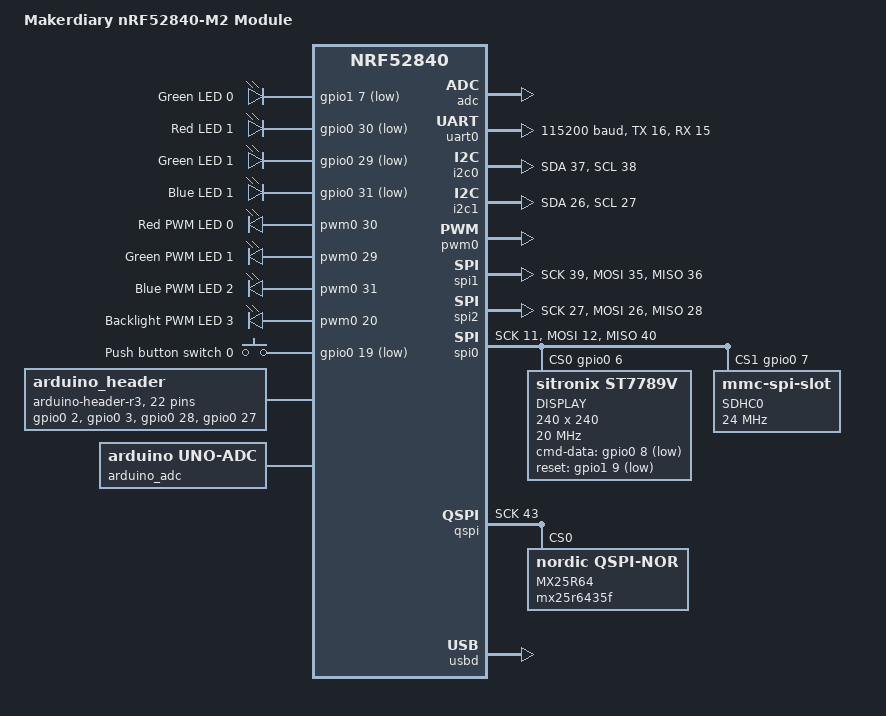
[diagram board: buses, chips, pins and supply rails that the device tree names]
/*
 * Copyright (c) 2020 makerdiary
 * Copyright (c) 2017 Linaro Limited
 *
 * SPDX-License-Identifier: Apache-2.0
 */

/dts-v1/;
#include <nordic/nrf52840_qiaa.dtsi>

/ {
	model = "Makerdiary nRF52840-M2 Module";
	compatible = "nordic,nrf52840-dk-nrf52840";

	chosen {
		zephyr,console = &uart0;
		zephyr,shell-uart = &uart0;
		zephyr,uart-mcumgr = &uart0;
		zephyr,bt-mon-uart = &uart0;
		zephyr,bt-c2h-uart = &uart0;
		zephyr,sram = &sram0;
		zephyr,flash = &flash0;
		zephyr,code-partition = &slot0_partition;
	};

	leds {
		compatible = "gpio-leds";
		led0_green: led_0 {
			gpios = <&gpio1 7 GPIO_ACTIVE_LOW>;
			label = "Green LED 0";
		};
		led1_red: led_1 {
			gpios = <&gpio0 30 GPIO_ACTIVE_LOW>;
			label = "Red LED 1";
		};
		led1_green: led_2 {
			gpios = <&gpio0 29 GPIO_ACTIVE_LOW>;
			label = "Green LED 1";
		};
		led1_blue: led_3 {
			gpios = <&gpio0 31 GPIO_ACTIVE_LOW>;
			label = "Blue LED 1";
		};
	};

	pwmleds {
		compatible = "pwm-leds";
		red_pwm_led: pwm_led_0 {
			pwms = <&pwm0 30>;
			label = "Red PWM LED 0";
		};
		green_pwm_led: pwm_led_1 {
			pwms = <&pwm0 29>;
			label = "Green PWM LED 1";
		};
		blue_pwm_led: pwm_led_2 {
			pwms = <&pwm0 31>;
			label = "Blue PWM LED 2";
		};
		backlight_pwm_led: pwm_led_3 {
			pwms = <&pwm0 20>;
			label = "Backlight PWM LED 3";
		};
	};

	buttons {
		compatible = "gpio-keys";
		button0: button_0 {
			gpios = <&gpio0 19 (GPIO_PULL_UP | GPIO_ACTIVE_LOW)>;
			label = "Push button switch 0";
		};
	};

	arduino_header: connector {
		compatible = "arduino-header-r3";
		#gpio-cells = <2>;
		gpio-map-mask = <0xffffffff 0xffffffc0>;
		gpio-map-pass-thru = <0 0x3f>;
		gpio-map = <0 0 &gpio0 2 0>,	/* A0 */
				<1 0 &gpio0 3 0>,	/* A1 */
				<2 0 &gpio0 28 0>,	/* A2 */
				<3 0 &gpio0 27 0>,	/* A3 */
				<4 0 &gpio0 26 0>,	/* A4 */
				<5 0 &gpio0 4 0>,	/* A5 */
				<6 0 &gpio0 15 0>,	/* D0 */
				<7 0 &gpio0 16 0>,	/* D1 */
				<8 0 &gpio0 19 0>,	/* D2 */
				<9 0 &gpio0 20 0>,	/* D3 */
				<10 0 &gpio0 21 0>,	/* D4 */
				<11 0 &gpio0 22 0>,	/* D5 */
				<12 0 &gpio0 23 0>,	/* D6 */
				<13 0 &gpio0 24 0>,	/* D7 */
				<14 0 &gpio1 0 0>,	/* D8 */
				<15 0 &gpio1 1 0>,	/* D9 */
				<16 0 &gpio1 2 0>,	/* D10 */
				<17 0 &gpio1 3 0>,	/* D11 */
				<18 0 &gpio1 4 0>,	/* D12 */
				<19 0 &gpio1 7 0>,	/* D13 */
				<20 0 &gpio1 5 0>,	/* D14 */
				<21 0 &gpio1 6 0>;	/* D15 */
	};
	arduino_adc: analog-connector {
		compatible = "arduino,uno-adc";
		#io-channel-cells = <1>;
		io-channel-map = <0 &adc 0>,	/* A0 = P0.2 = AIN0 */
				 <1 &adc 1>,	/* A1 = P0.3 = AIN1 */
				 <2 &adc 4>,	/* A2 = P0.28 = AIN4 */
				 <5 &adc 2>;	/* A5 = P0.4 = AIN2 */
	};

	/* These aliases are provided for compatibility with samples */
	aliases {
		sw0 = &button0;
		led0 = &led0_green;
		led1 = &led1_red;
		led2 = &led1_green;
		led3 = &led1_blue;
		led0-green = &led0_green;
		led1-red   = &led1_red;
		led1-green = &led1_green;
		led1-blue  = &led1_blue;
		pwm-led0 = &red_pwm_led;
		pwm-led1 = &green_pwm_led;
		pwm-led2 = &blue_pwm_led;
		pwm-led3 = &backlight_pwm_led;
		red-pwm-led = &red_pwm_led;
		green-pwm-led = &green_pwm_led;
		blue-pwm-led = &blue_pwm_led;
		backlight-pwm-led = &backlight_pwm_led;
	};
};

&adc {
	status = "okay";
};

&gpiote {
	status = "okay";
};

&gpio0 {
	status = "okay";
};

&gpio1 {
	status = "okay";
};

&uart0 {
	compatible = "nordic,nrf-uart";
	status = "okay";
	current-speed = <115200>;
	tx-pin = <16>;
	rx-pin = <15>;
	rts-pin = <14>;
	cts-pin = <13>;
};

arduino_i2c: &i2c0 {
	compatible = "nordic,nrf-twi";
	status = "okay";
	sda-pin = <37>;
	scl-pin = <38>;
};

&i2c1 {
	compatible = "nordic,nrf-twi";
	/* status = "okay"; */
	sda-pin = <26>;
	scl-pin = <27>;
};

&pwm0 {
	status = "okay";
	ch0-pin = <30>;
	ch0-inverted;
	ch1-pin = <29>;
	ch1-inverted;
	ch2-pin = <31>;
	ch2-inverted;
	ch3-pin = <20>;
};

arduino_spi: &spi1 {
	compatible = "nordic,nrf-spi";
	/* status = "okay"; */
	sck-pin = <39>;
	mosi-pin = <35>;
	miso-pin = <36>;
	cs-gpios = <&arduino_header 16 0>; /* D10 */
};

&spi2 {
	compatible = "nordic,nrf-spi";
	/* Cannot be used together with i2c1. */
	status = "okay";
	sck-pin = <27>;
	mosi-pin = <26>;
	miso-pin = <28>;
};

&spi0 {
	compatible = "nordic,nrf-spi";
	status = "okay";
	sck-pin = <11>;
	mosi-pin = <12>;
	miso-pin = <40>;
	cs-gpios = <&gpio0 6 0>,<&gpio0 7 0>;

	st7789v@0 {
		compatible = "sitronix,st7789v";
		label = "DISPLAY";
		spi-max-frequency = <20000000>;
		reg = <0>;
		cmd-data-gpios = <&gpio0 8 GPIO_ACTIVE_LOW>;
		reset-gpios = <&gpio1 9 GPIO_ACTIVE_LOW>;
		width = <240>;
		height = <240>;
		x-offset = <80>;
		y-offset = <0>;
		vcom = <0x19>;
		gctrl = <0x35>;
		vrhs = <0x12>;
		vdvs = <0x20>;
		mdac = <0xa0>;
		gamma = <0x01>;
		colmod = <0x05>;
		lcm = <0x2c>;
		porch-param = [0c 0c 00 33 33];
		cmd2en-param = [5a 69 02 01];
		pwctrl1-param = [a4 a1];
		pvgam-param = [D0 04 0D 11 13 2B 3F 54 4C 18 0D 0B 1F 23];
		nvgam-param = [D0 04 0C 11 13 2C 3F 44 51 2F 1F 1F 20 23];
		ram-param = [00 F0];
		rgb-param = [CD 08 14];
	};

	sdhc0: sdhc@1 {
		compatible = "zephyr,mmc-spi-slot";
		reg = <1>;
		status = "okay";
		label = "SDHC0";
		spi-max-frequency = <24000000>;
	};
};


&qspi {
	status = "okay";
	sck-pin = <43>;
	io-pins = <42>, <46>, <47>, <44>;
	csn-pins = <45>;
	mx25r64: mx25r6435f@0 {
		compatible = "nordic,qspi-nor";
		reg = <0>;
		writeoc = "pp4io";
		readoc = "read4io";
		sck-frequency = <8000000>;
		label = "MX25R64";
		jedec-id = [c2 28 17];
		size = <67108864>;
		has-be32k;
		has-dpd;
		t-enter-dpd = <10000>;
		t-exit-dpd = <35000>;
	};
};


/* Include flash partition table.
 * Two partition tables are available:
 * fstab-stock		-compatible with Nordic nRF5 bootloader, default
 * fstab-debugger	-to use an external debugger, w/o the nRF5 bootloader
 *
 * For more information, see:
 * http://docs.zephyrproject.org/latest/guides/dts/index.html#flash-partitions
 */
#include "fstab-stock.dts"

&usbd {
	compatible = "nordic,nrf-usbd";
	status = "okay";
};
